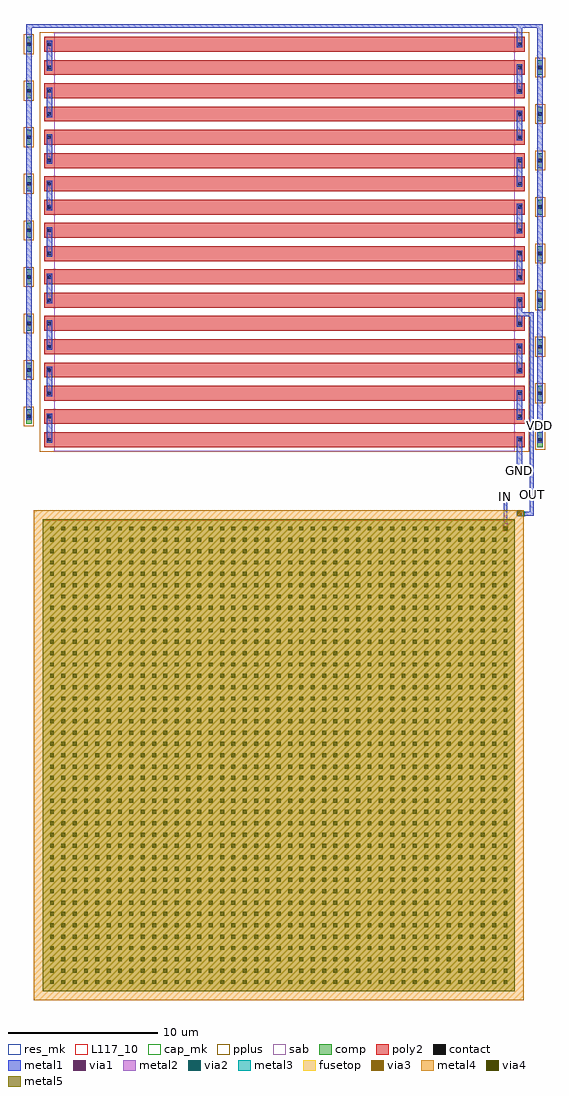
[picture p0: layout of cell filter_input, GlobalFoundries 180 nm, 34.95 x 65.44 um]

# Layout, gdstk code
from math import pi, radians
import gdstk
lib = gdstk.Library(unit=1e-6, precision=1e-09)
def R(c, l, rs):  # rectangles x0, y0, x1, y1
    for r in rs: c.add(gdstk.rectangle(r[:2], r[2:], *l))
def A(c, l, x, y, w, h, nx, ny, dx, dy):  # array of equal rectangles
    R(c, l, [(x+i*dx, y+j*dy, x+i*dx+w, y+j*dy+h) for i in range(nx) for j in range(ny)])
def P(c, l, *ps):  # polygons
    for p in ps: c.add(gdstk.Polygon(p, *l))
comp = (22, 0)
poly2 = (30, 0)
pplus = (31, 0)
contact = (33, 0)
metal1 = (34, 0)
via1 = (35, 0)
metal2 = (36, 0)
via2 = (38, 0)
via3 = (40, 0)
via4 = (41, 0)
metal3 = (42, 0)
metal4 = (46, 0)
sab = (49, 0)
fusetop = (75, 0)
metal5 = (81, 0)
res_mk = (110, 5)
cap_mk = (117, 5)
L117_10 = (117, 10)

ppolyf_u_resistor = lib.new_cell('ppolyf_u_resistor')
R(ppolyf_u_resistor, comp, [(-1.88,0,-1.52,1)])
R(ppolyf_u_resistor, poly2, [(-0.66,0,31.53,1)])
R(ppolyf_u_resistor, pplus, [(-0.96,-0.3,31.83,1.3), (-2.04,-0.16,-1.36,1.16)])
R(ppolyf_u_resistor, contact, [(-1.81,0.39,-1.59,0.61), (-0.44,0.39,-0.22,0.61), (31.09,0.39,31.31,0.61)])
R(ppolyf_u_resistor, metal1, [(-1.89,0.309,-1.51,0.691), (-0.52,0.309,-0.14,0.691), (31.01,0.309,31.39,0.691)])
R(ppolyf_u_resistor, sab, [(0,-0.28,30.87,1.28)])
R(ppolyf_u_resistor, res_mk, [(0,0,30.87,1)])

cap_mim = lib.new_cell('cap_mim')
A(cap_mim, via4, 0.48, 0.48, 0.26, 0.26, 41, 41, 0.76, 0.76)
R(cap_mim, metal4, [(-0.6,-0.6,32.22,32.22)])
R(cap_mim, fusetop, [(0,0,31.62,31.62)])
R(cap_mim, metal5, [(0,0,31.62,31.62)])
R(cap_mim, cap_mk, [(-0.6,-0.6,32.22,32.22)])
R(cap_mim, L117_10, [(0,0,31.62,0.1)])
cap_mim.add(gdstk.Label('top', (15.81,15.81), layer=81, texttype=10))
cap_mim.add(gdstk.Label('bot', (15.81,-0.3), layer=46, texttype=10))

ppolyf_u_resistor_4 = lib.new_cell('ppolyf_u_resistor$4')
R(ppolyf_u_resistor_4, comp, [(-1.88,0,-1.52,1)])
R(ppolyf_u_resistor_4, poly2, [(-0.66,0,31.53,1)])
R(ppolyf_u_resistor_4, pplus, [(-0.96,-0.3,31.83,1.3), (-2.04,-0.16,-1.36,1.16)])
R(ppolyf_u_resistor_4, contact, [(-1.81,0.39,-1.59,0.61), (-0.44,0.39,-0.22,0.61), (31.09,0.39,31.31,0.61)])
R(ppolyf_u_resistor_4, metal1, [(-1.89,0.309,-1.51,0.691), (-0.52,0.309,-0.14,0.691), (31.01,0.309,31.39,0.691)])
R(ppolyf_u_resistor_4, sab, [(0,-0.28,30.87,1.28)])
R(ppolyf_u_resistor_4, res_mk, [(0,0,30.87,1)])
ppolyf_u_resistor_4.add(gdstk.Label('0', (-0.33,0.5), layer=34, texttype=10))
ppolyf_u_resistor_4.add(gdstk.Label('1', (31.2,0.5), layer=34, texttype=10))

ppolyf_u_resistor_2 = lib.new_cell('ppolyf_u_resistor$2')
R(ppolyf_u_resistor_2, comp, [(-1.88,0,-1.52,1)])
R(ppolyf_u_resistor_2, poly2, [(-0.66,0,31.53,1)])
R(ppolyf_u_resistor_2, pplus, [(-0.96,-0.3,31.83,1.3), (-2.04,-0.16,-1.36,1.16)])
R(ppolyf_u_resistor_2, contact, [(-1.81,0.39,-1.59,0.61), (-0.44,0.39,-0.22,0.61), (31.09,0.39,31.31,0.61)])
R(ppolyf_u_resistor_2, metal1, [(-1.89,0.309,-1.51,0.691), (-0.52,0.309,-0.14,0.691), (31.01,0.309,31.39,0.691)])
R(ppolyf_u_resistor_2, sab, [(0,-0.28,30.87,1.28)])
R(ppolyf_u_resistor_2, res_mk, [(0,0,30.87,1)])

filter_input = lib.new_cell('filter_input')
A(filter_input, metal1, 1.22, 41.221, 0.38, 1.178, 1, 7, 0, 3.12)
A(filter_input, metal1, 32.75, 52.141, 0.38, 1.178, 1, 3, 0, 3.12)
R(filter_input, metal1, [(31.86,31.77,32.12,31.83), (31.86,31.83,32.12,32.09), (32.75,32.82,32.81,33.08), (32.81,32.82,32.84,33.08), (32.75,35.565,33.13,37.719), (34.12,37.705,34.5,37.719), (1.22,37.71,1.6,37.719), (1.22,38.05,1.6,39.305), (34.12,38.075,34.24,53.319), (32.75,38.101,33.13,38.12), (-0.15,39.245,0.23,39.279), (32.75,39.255,33.13,39.279), (-0.15,39.279,0.23,63.395), (32.75,39.565,33.13,40.865), (1.22,39.661,1.6,39.67), (1.22,40.825,1.6,40.839), (32.75,41.221,33.13,41.235), (32.75,42.385,33.13,42.399), (32.75,42.725,33.13,43.959), (1.22,42.781,1.6,42.795), (1.22,43.945,1.6,43.959), (32.75,44.341,33.13,44.355), (32.75,45.5,33.13,45.519), (32.75,45.82,33.13,47.12), (1.22,45.901,1.6,45.915), (1.22,47.065,1.6,47.079), (32.75,47.461,33.13,47.48), (32.75,48.62,33.13,48.639), (32.75,48.915,33.13,50.199), (1.22,49.021,1.6,49.03), (1.22,50.18,1.6,50.199), (32.75,50.581,33.13,50.595), (32.75,51.74,33.13,51.759), (1.22,52.141,1.6,52.16), (1.22,53.305,1.6,53.319), (34.12,53.7,34.24,56.439), (32.75,53.701,33.13,53.72), (32.75,54.865,33.13,54.879), (1.22,55.261,1.6,55.275), (1.22,56.425,1.6,56.439), (32.75,56.821,33.13,56.845), (34.12,56.821,34.24,59.559), (32.75,57.98,33.13,57.999), (33.02,58.18,33.07,58.44), (1.22,58.381,1.6,58.4), (1.22,59.545,1.6,59.559), (32.75,59.941,33.13,59.965), (34.12,59.941,34.5,62.63), (32.75,61.11,33.13,61.119), (32.75,61.119,33.13,63.061), (1.22,61.501,1.6,61.515), (34.12,62.63,34.5,65.785), (1.22,62.645,1.6,62.679), (1.22,62.679,1.6,64.655), (32.75,63.061,33.13,63.075), (-0.15,63.395,0.23,65.785), (32.75,64.22,33.13,64.239), (32.75,64.239,33.13,65.655)])
P(filter_input, metal1, [(34.12,59.559),(34.12,59.559),(34.24,59.559),(34.24,59.559)],
  [(34.12,59.559),(34.12,59.559),(34.24,59.559),(34.24,59.559)],
  [(32.75,51.759),(32.75,51.759),(33.13,51.759),(33.13,51.759)],
  [(7.845,63.03),(7.845,63.03),(7.845,63.03),(7.845,63.03)],
  [(32.75,64.239),(32.75,64.239),(33.13,64.239),(33.13,64.239)])
R(filter_input, via1, [(31.86,31.83,32.12,32.09), (32.81,32.82,33.07,33.08)])
P(filter_input, via1, [(32.895,33.06),(32.895,33.06),(32.895,33.06),(32.895,33.06)])
R(filter_input, metal2, [(31.82,31.77,32.16,32.305), (32.75,32.78,33.285,32.82), (32.75,32.82,33.285,33.08), (32.75,33.08,33.285,33.12)])
R(filter_input, via2, [(32.81,32.82,33.07,33.08)])
R(filter_input, via3, [(32.81,32.82,33.07,33.08)])
R(filter_input, metal3, [(32.75,32.78,33.285,33.12)])
filter_input.add(gdstk.FlexPath([(34.37,64.465),(34.37,65.655),(0.1,65.655),(0.1,65.625),(0.1,65.625)], 0.26, ends="flush", simple_path=True, layer=34, datatype=0))  # metal1
filter_input.add(gdstk.FlexPath([(1.41,39.355),(1.41,37.905)], 0.26, ends="flush", simple_path=True, layer=34, datatype=0))  # metal1
filter_input.add(gdstk.FlexPath([(1.41,42.399),(1.41,41.14)], 0.26, ends="flush", simple_path=True, layer=34, datatype=0))  # metal1
filter_input.add(gdstk.FlexPath([(1.41,45.519),(1.41,44.15)], 0.26, ends="flush", simple_path=True, layer=34, datatype=0))  # metal1
filter_input.add(gdstk.FlexPath([(1.41,48.639),(1.41,47.27)], 0.26, ends="flush", simple_path=True, layer=34, datatype=0))  # metal1
filter_input.add(gdstk.FlexPath([(1.41,51.759),(1.41,50.5)], 0.26, ends="flush", simple_path=True, layer=34, datatype=0))  # metal1
filter_input.add(gdstk.FlexPath([(1.41,54.879),(1.41,53.62)], 0.26, ends="flush", simple_path=True, layer=34, datatype=0))  # metal1
filter_input.add(gdstk.FlexPath([(1.41,57.999),(1.41,56.63),(1.41,56.63)], 0.26, ends="flush", simple_path=True, layer=34, datatype=0))  # metal1
filter_input.add(gdstk.FlexPath([(1.41,61.119),(1.41,59.86),(1.41,59.86)], 0.26, ends="flush", simple_path=True, layer=34, datatype=0))  # metal1
filter_input.add(gdstk.FlexPath([(31.99,32.09),(31.99,34.26)], 0.26, ends="flush", simple_path=True, layer=34, datatype=0))  # metal1
filter_input.add(gdstk.FlexPath([(34.37,59.945),(34.37,37.723)], 0.26, ends="flush", simple_path=True, layer=34, datatype=0))  # metal1
filter_input.add(gdstk.FlexPath([(32.94,59.569),(32.94,58.31),(33.05,58.31)], 0.26, ends="flush", simple_path=True, layer=34, datatype=0))  # metal1
filter_input.add(gdstk.FlexPath([(32.94,56.439),(32.94,55.07),(32.94,55.07)], 0.26, ends="flush", simple_path=True, layer=34, datatype=0))  # metal1
filter_input.add(gdstk.FlexPath([(32.94,53.319),(32.94,51.95)], 0.26, ends="flush", simple_path=True, layer=34, datatype=0))  # metal1
filter_input.add(gdstk.FlexPath([(32.94,50.199),(32.94,48.72)], 0.26, ends="flush", simple_path=True, layer=34, datatype=0))  # metal1
filter_input.add(gdstk.FlexPath([(32.94,47.16),(32.94,45.71)], 0.26, ends="flush", simple_path=True, layer=34, datatype=0))  # metal1
filter_input.add(gdstk.FlexPath([(33.04,46.33),(33.75,46.33),(33.75,34.35),(33.75,34.35)], 0.26, ends="flush", simple_path=True, layer=34, datatype=0))  # metal1
filter_input.add(gdstk.FlexPath([(32.94,43.959),(32.94,42.59)], 0.26, ends="flush", simple_path=True, layer=34, datatype=0))  # metal1
filter_input.add(gdstk.FlexPath([(32.94,40.92),(32.94,39.47)], 0.26, ends="flush", simple_path=True, layer=34, datatype=0))  # metal1
filter_input.add(gdstk.FlexPath([(32.94,37.719),(32.94,35.57)], 0.26, ends="flush", simple_path=True, layer=34, datatype=0))  # metal1
filter_input.add(gdstk.FlexPath([(33.75,34.35),(33.75,32.95),(32.84,32.95),(32.84,32.95)], 0.26, ends="flush", simple_path=True, layer=34, datatype=0))  # metal1
filter_input.add(gdstk.Reference(ppolyf_u_resistor, (32.61,44.65), rotation=pi))
filter_input.add(gdstk.Reference(cap_mim, (32.6,32.57), rotation=pi))
filter_input.add(gdstk.Reference(ppolyf_u_resistor, (1.74,42.09)))
filter_input.add(gdstk.Reference(ppolyf_u_resistor, (1.74,51.45)))
filter_input.add(gdstk.Reference(ppolyf_u_resistor, (32.61,54.01), rotation=pi))
filter_input.add(gdstk.Reference(ppolyf_u_resistor, (32.61,57.13), rotation=pi))
filter_input.add(gdstk.Reference(ppolyf_u_resistor, (1.74,48.33)))
filter_input.add(gdstk.Reference(ppolyf_u_resistor, (32.61,47.77), rotation=pi))
filter_input.add(gdstk.Reference(ppolyf_u_resistor, (1.74,45.21)))
filter_input.add(gdstk.Reference(ppolyf_u_resistor_4, (1.74,38.97)))
filter_input.add(gdstk.Reference(ppolyf_u_resistor, (1.74,54.57)))
filter_input.add(gdstk.Reference(ppolyf_u_resistor, (1.74,57.69)))
filter_input.add(gdstk.Reference(ppolyf_u_resistor, (32.61,50.89), rotation=pi))
filter_input.add(gdstk.Reference(ppolyf_u_resistor, (32.61,60.25), rotation=pi))
filter_input.add(gdstk.Reference(ppolyf_u_resistor_4, (32.61,38.41), rotation=pi))
filter_input.add(gdstk.Reference(ppolyf_u_resistor, (32.61,41.53), rotation=pi))
filter_input.add(gdstk.Reference(ppolyf_u_resistor, (1.74,60.81)))
r = gdstk.Reference(ppolyf_u_resistor_2, (32.61,63.37), rotation=pi); r.repetition = gdstk.Repetition(1, 1, v1=(0,0), v2=(0,0)); filter_input.add(r)
r = gdstk.Reference(ppolyf_u_resistor_2, (1.74,63.93)); r.repetition = gdstk.Repetition(1, 1, v1=(0,0), v2=(0,0)); filter_input.add(r)
filter_input.add(gdstk.Label('OUT', (33.815,34.225), layer=34, texttype=10))
filter_input.add(gdstk.Label('IN', (31.99,34.075), layer=34, texttype=10))
filter_input.add(gdstk.Label('GND', (32.94,35.84), layer=34, texttype=10))
filter_input.add(gdstk.Label('VDD', (34.24,38.875), layer=34, texttype=10))

lib.write_gds('filter_input.gds')
